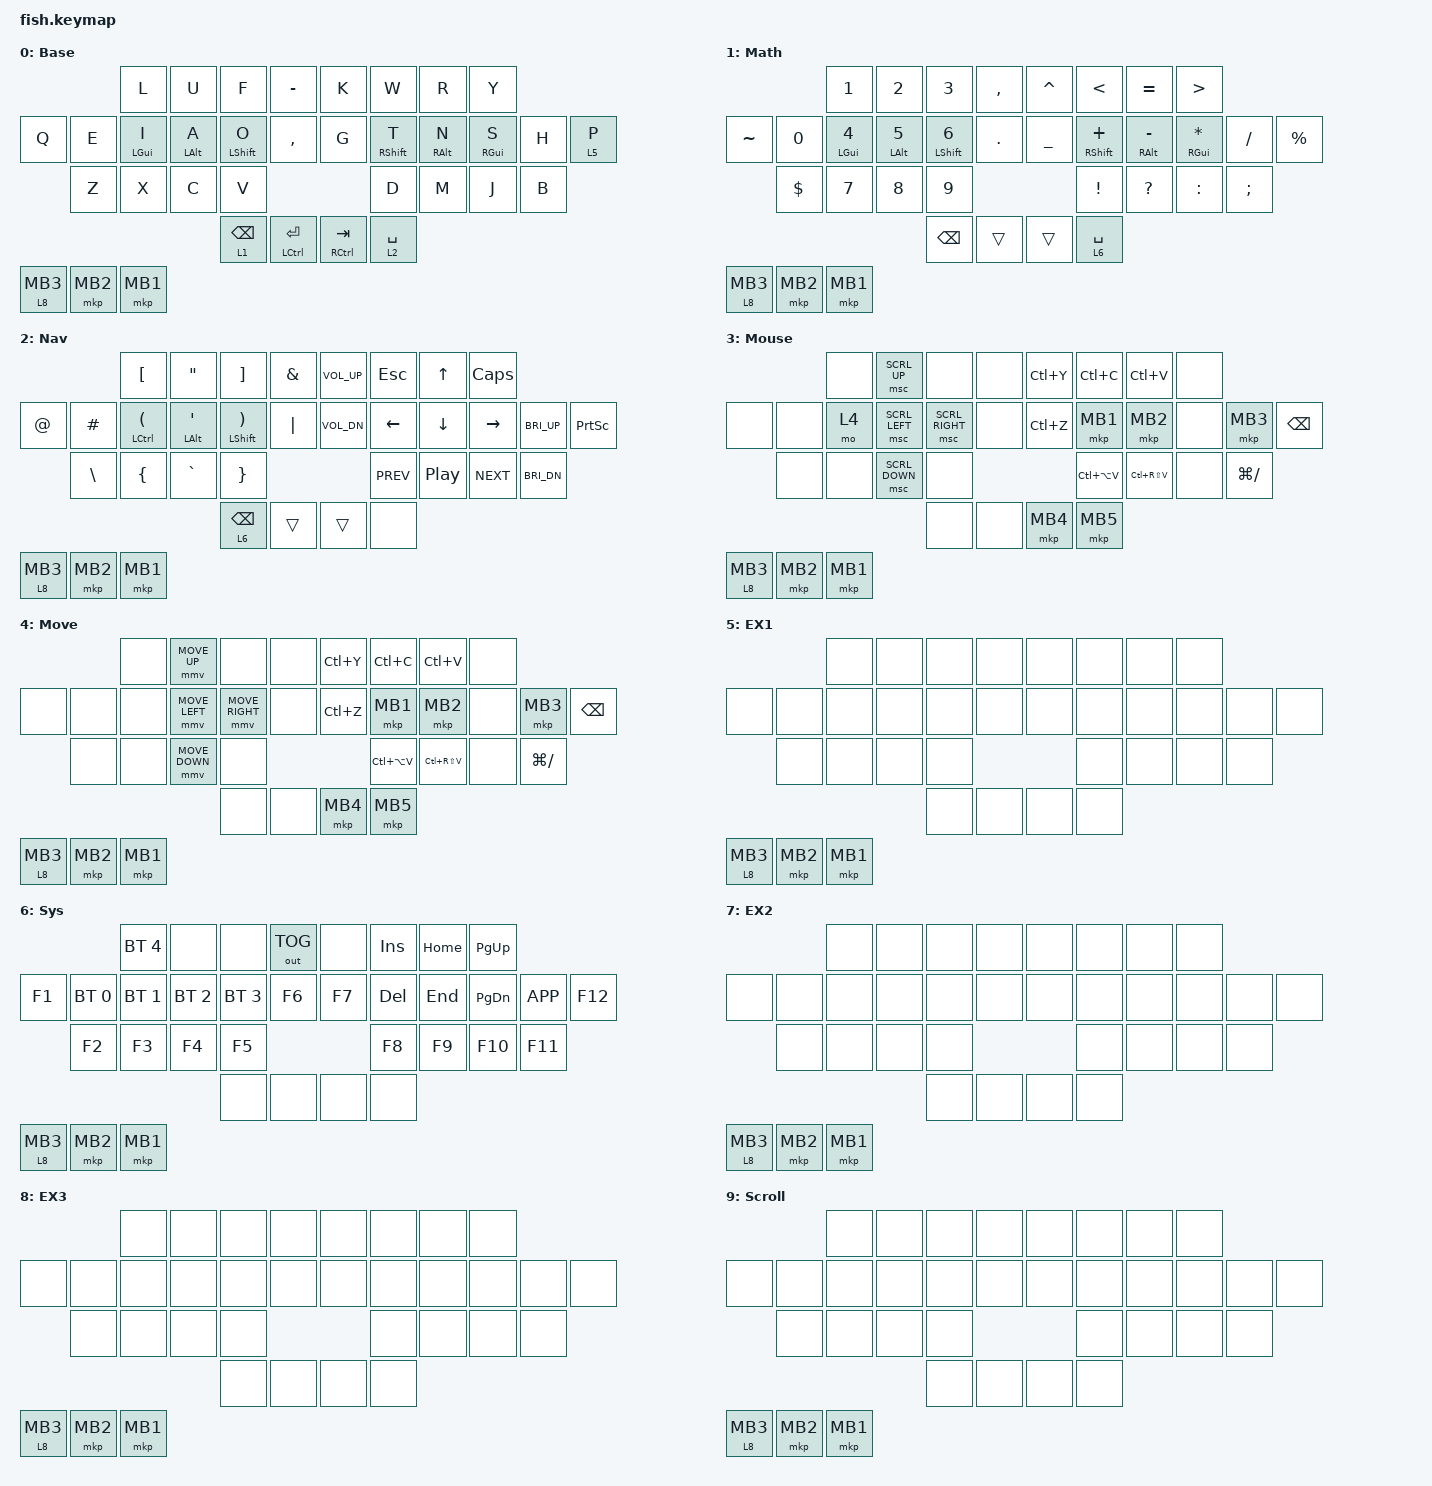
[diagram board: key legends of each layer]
// キーマップを更新する方法は https://o24.works/fish/guide を参照
// 視覚的に編集するには https://o24.works/fish/editor を参照


// 定義を呼んでくる
#include <behaviors.dtsi>
#include <dt-bindings/zmk/keys.h>
#include <dt-bindings/zmk/mouse.h>
#include <dt-bindings/zmk/bt.h>
#include <dt-bindings/zmk/outputs.h>
#include <dt-bindings/zmk/pointing.h>


// 特殊入力の挙動を調整できる

&mt {
    flavor = "tap-preferred";
    tapping-term-ms = <225>;
    quick-tap-ms = <200>;
    require-prior-idle-ms = <150>;
};

&lt {
    flavor = "balanced";
    tapping-term-ms = <175>;
    quick-tap-ms = <200>;
};

&sk {
};

&sl {
};

&caps_word {
};

&key_repeat {
};


/ {
    // 独自の入力を定義できる（上級者向け）

    behaviors {
        lt_mkp: lt_mkp {
            compatible = "zmk,behavior-hold-tap";
            label = "LT_MKP";
            bindings = <&mo>, <&mkp>;
            #binding-cells = <2>;
            tapping-term-ms = <200>;
        };
    };

    macros {
        psw_macro: psw_macro {
            compatible = "zmk,behavior-macro";
            label = "psw";
            #binding-cells = <0>;
            bindings = <
                &kp LANG2
                &kp LS(K)
                &kp I
                &kp R
                &kp I
                &kp G
                &kp A
                &kp Y
                &kp A
                &kp N4
                &kp N2
                &kp EXCL
            >;
        };

        xn: xn {
            compatible = "zmk,behavior-macro";
            label = "xn";
            #binding-cells = <0>;
            bindings = <
                &kp X
                &kp N
            >;
        };
     };

    conditional_layers {
    };


    // 複数キーの同時押しに特別の入力を設定できる
    // キー番号早見表：
    //       0  1  2  3     4  5  6  7
    // 8  9 10 11 12 13    14 15 16 17 18 19
    //   20 21 22 23          24 25 26 27
    //            28 29    30 31
    //32 33 34

    combos {
        compatible = "zmk,combos";
        timeout-ms = <100>;
        require-prior-idle-ms = <150>;

        combo_lang2 {
            key-positions = <11 12>;
            bindings = <&kp LANG2>;
        };

        combo_scroll_hold {
            key-positions = <33 34>;
            bindings = <&mo 9>;
            slow-release;
        };

        combo_lang1 {
            key-positions = <15 16>;
            bindings = <&kp LANG1>;
        };

        combo_bt_clr {
            key-positions = <3 8 13>;
            bindings = <&bt BT_CLR>;
        };

        combo_psw {
            key-positions = <8 19>;
            bindings = <&psw_macro>;
        };

        combo_xn {
            key-positions = <16 17>;
            bindings = <&xn>;
        };
    };
    

    // キーに入力を割り当てる
    // 型（&...）は https://zmk.dev/docs/behaviors/... を参照
    // キーコードは https://zmk.dev/docs/codes/... を参照

    keymap {
        compatible = "zmk,keymap";

        layer_keymap {
            display-name = "Base";
            bindings = <
                        &kp L       &kp U       &kp F       &kp MINUS           &kp K       &kp W       &kp R       &kp Y       
&kp Q       &kp E       &mt LGUI I  &mt LALT A  &mt LSHFT O &kp COMMA           &kp G       &mt RSHFT T &mt RALT N  &mt RGUI S     &kp H       &lt 5 P     
            &kp Z       &kp X       &kp C       &kp V                                       &kp D       &kp M       &kp J       &kp B       
                                                &lt 1 BSPC  &mt LCTRL RET       &mt RCTRL TAB &lt 2 SPACE 
&lt_mkp 8 MB3   &mkp MB2   &mkp MB1
            >;
        };

        layer_math {
            display-name = "Math";
            bindings = <
                        &kp N1      &kp N2      &kp N3      &kp COMMA           &kp CARET   &kp LT      &kp EQUAL   &kp GT      
&kp TILDE   &kp N0      &mt LGUI N4 &mt LALT N5 &mt LSHFT N6 &kp DOT            &kp UNDER   &mt RSHFT PLUS &mt RALT MINUS &mt RGUI STAR &kp FSLH &kp PRCNT 
            &kp DLLR    &kp N7      &kp N8      &kp N9                                      &kp EXCL    &kp QMARK   &kp COLON   &kp SEMI    
                                                &kp BSPC    &trans              &trans      &lt 6 SPACE 
&lt_mkp 8 MB3   &mkp MB2   &mkp MB1
            >;
        };

        layer_navi {
            display-name = "Nav";
            bindings = <
                        &kp LBKT    &kp DQT     &kp RBKT    &kp AMPS            &kp C_VOL_UP &kp ESC    &kp UP      &kp CAPS    
&kp AT      &kp HASH    &mt LCTRL LPAR &mt LALT SQT &mt LSHFT RPAR &kp PIPE     &kp C_VOL_DN &kp LEFT   &kp DOWN    &kp RIGHT   &kp C_BRI_UP &kp PSCRN  
            &kp BSLH    &kp LBRC    &kp GRAVE   &kp RBRC                                    &kp C_PREV  &kp C_PP    &kp C_NEXT  &kp C_BRI_DN 
                                                &lt 6 BSPC  &trans              &trans      &none 
&lt_mkp 8 MB3   &mkp MB2   &mkp MB1
            >;
        };

        layer_mouse {
            display-name = "Mouse";
            bindings = <
                        &none       &msc SCRL_UP &none      &none               &kp LC(Y)   &kp LC(C)   &kp LC(V)   &none       
&none       &none       &mo 4       &msc SCRL_LEFT &msc SCRL_RIGHT &none        &kp LC(Z)   &mkp MB1    &mkp MB2    &none       &mkp MB3    &kp BSPC    
            &none       &none       &msc SCRL_DOWN &none                                    &kp LC(LA(V)) &kp LC(RS(V)) &none     &kp LG(SLASH) 
                                                &none       &none               &mkp MB4    &mkp MB5  
&lt_mkp 8 MB3   &mkp MB2   &mkp MB1
            >;
        };

        layer_mouse2 {
            display-name = "Move";
            bindings = <
                        &none       &mmv MOVE_UP &none      &none               &kp LC(Y)   &kp LC(C)   &kp LC(V)   &none       
&none       &none       &none       &mmv MOVE_LEFT &mmv MOVE_RIGHT &none        &kp LC(Z)   &mkp MB1    &mkp MB2    &none       &mkp MB3    &kp BSPC    
            &none       &none       &mmv MOVE_DOWN &none                                    &kp LC(LA(V)) &kp LC(RS(V)) &none     &kp LG(SLASH) 
                                                &none       &none               &mkp MB4    &mkp MB5    
&lt_mkp 8 MB3   &mkp MB2   &mkp MB1
            >;
        };

        layer_extra_1 {
            display-name = "EX1";
            bindings = <
                        &none       &none       &none       &none               &none       &none       &none       &none       
&none       &none       &none       &none       &none       &none               &none       &none       &none       &none       &none       &none       
            &none       &none       &none       &none                                       &none       &none       &none       &none       
                                                &none       &none               &none       &none       
&lt_mkp 8 MB3   &mkp MB2   &mkp MB1
            >;
        };

        layer_system {
            display-name = "Sys";
            bindings = <
                        &bt BT_SEL 4 &none      &none       &out OUT_TOG               &none       &kp INS     &kp HOME    &kp PG_UP   
&kp F1      &bt BT_SEL 0 &bt BT_SEL 1 &bt BT_SEL 2 &bt BT_SEL 3 &kp F6          &kp F7      &kp DEL     &kp END     &kp PG_DN   &kp K_APP   &kp F12     
            &kp F2      &kp F3      &kp F4      &kp F5                                      &kp F8      &kp F9      &kp F10     &kp F11     
                                                &none       &none               &none       &none       
&lt_mkp 8 MB3   &mkp MB2   &mkp MB1
            >;
        };

        layer_extra_2 {
            display-name = "EX2";
            bindings = <
                        &none       &none       &none       &none               &none       &none       &none       &none       
&none       &none       &none       &none       &none       &none               &none       &none       &none       &none       &none       &none       
            &none       &none       &none       &none                                       &none       &none       &none       &none       
                                                &none       &none               &none       &none       
&lt_mkp 8 MB3   &mkp MB2   &mkp MB1
            >;
        };

        layer_extra_3 {
            display-name = "EX3";
            bindings = <
                        &none       &none       &none       &none               &none       &none       &none       &none       
&none       &none       &none       &none       &none       &none               &none       &none       &none       &none       &none       &none       
            &none       &none       &none       &none                                       &none       &none       &none       &none       
                                                &none       &none               &none       &none    
&lt_mkp 8 MB3   &mkp MB2   &mkp MB1
            >;
        };

        layer_Scroll {
            display-name = "Scroll";
            bindings = <
                        &none       &none       &none       &none               &none       &none       &none       &none       
&none       &none       &none       &none       &none       &none               &none       &none       &none       &none       &none       &none       
            &none       &none       &none       &none                                       &none       &none       &none       &none       
                                                &none       &none               &none       &none       
&lt_mkp 8 MB3   &mkp MB2   &mkp MB1
            >;
        };
    };
};
